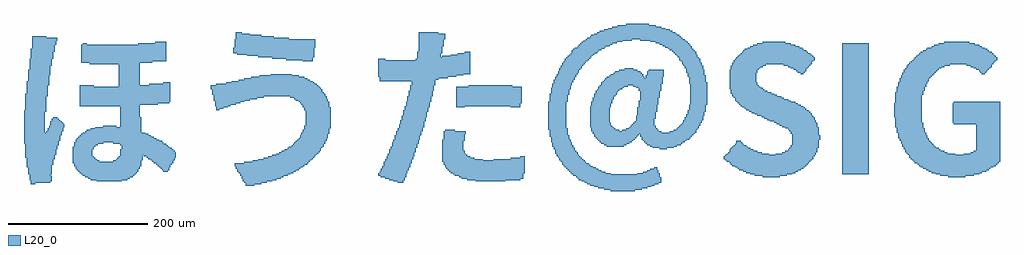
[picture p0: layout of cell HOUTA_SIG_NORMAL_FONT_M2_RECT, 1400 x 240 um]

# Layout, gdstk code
import gdstk
lib = gdstk.Library(unit=1e-6, precision=1e-09)
def R(c, l, rs):  # rectangles x0, y0, x1, y1
    for r in rs: c.add(gdstk.rectangle(r[:2], r[2:], *l))
def A(c, l, x, y, w, h, nx, ny, dx, dy):  # array of equal rectangles
    R(c, l, [(x+i*dx, y+j*dy, x+i*dx+w, y+j*dy+h) for i in range(nx) for j in range(ny)])
L20_0 = (20, 0)

houta_sig_normal_font_m2 = lib.new_cell('HOUTA_SIG_NORMAL_FONT_M2_RECT')
A(houta_sig_normal_font_m2, L20_0, 58, 146, 32, 2, 1, 3, 0, 2)
A(houta_sig_normal_font_m2, L20_0, 56, 154, 34, 2, 1, 5, 0, 2)
A(houta_sig_normal_font_m2, L20_0, 1224, 154, 38, 2, 1, 94, 0, 2)
A(houta_sig_normal_font_m2, L20_0, 54, 168, 38, 2, 1, 4, 0, 2)
A(houta_sig_normal_font_m2, L20_0, 120, 180, 28, 2, 1, 5, 0, 2)
A(houta_sig_normal_font_m2, L20_0, 52, 182, 44, 2, 1, 4, 0, 2)
A(houta_sig_normal_font_m2, L20_0, 650, 188, 30, 2, 1, 7, 0, 2)
A(houta_sig_normal_font_m2, L20_0, 1416, 188, 34, 2, 1, 19, 0, 2)
A(houta_sig_normal_font_m2, L20_0, 52, 190, 46, 2, 1, 3, 0, 2)
A(houta_sig_normal_font_m2, L20_0, 1152, 196, 38, 2, 1, 4, 0, 2)
A(houta_sig_normal_font_m2, L20_0, 50, 202, 52, 2, 1, 4, 0, 2)
A(houta_sig_normal_font_m2, L20_0, 582, 204, 36, 2, 1, 3, 0, 2)
A(houta_sig_normal_font_m2, L20_0, 652, 204, 30, 2, 1, 4, 0, 2)
A(houta_sig_normal_font_m2, L20_0, 1152, 204, 40, 2, 1, 3, 0, 2)
A(houta_sig_normal_font_m2, L20_0, 584, 210, 36, 2, 1, 3, 0, 2)
A(houta_sig_normal_font_m2, L20_0, 804, 210, 26, 2, 1, 4, 0, 2)
A(houta_sig_normal_font_m2, L20_0, 50, 214, 30, 2, 1, 15, 0, 2)
A(houta_sig_normal_font_m2, L20_0, 1302, 214, 40, 2, 1, 3, 0, 2)
A(houta_sig_normal_font_m2, L20_0, 802, 220, 26, 2, 1, 19, 0, 2)
A(houta_sig_normal_font_m2, L20_0, 188, 222, 30, 2, 1, 7, 0, 2)
A(houta_sig_normal_font_m2, L20_0, 1300, 222, 40, 2, 1, 3, 0, 2)
A(houta_sig_normal_font_m2, L20_0, 454, 224, 36, 2, 1, 11, 0, 2)
A(houta_sig_normal_font_m2, L20_0, 862, 228, 28, 2, 1, 11, 0, 2)
A(houta_sig_normal_font_m2, L20_0, 1300, 228, 38, 2, 1, 4, 0, 2)
A(houta_sig_normal_font_m2, L20_0, 1382, 228, 68, 2, 1, 14, 0, 2)
A(houta_sig_normal_font_m2, L20_0, 188, 236, 28, 2, 1, 8, 0, 2)
A(houta_sig_normal_font_m2, L20_0, 1298, 236, 40, 2, 1, 10, 0, 2)
A(houta_sig_normal_font_m2, L20_0, 594, 238, 34, 2, 1, 3, 0, 2)
A(houta_sig_normal_font_m2, L20_0, 930, 238, 26, 2, 1, 3, 0, 2)
A(houta_sig_normal_font_m2, L20_0, 930, 244, 28, 2, 1, 3, 0, 2)
A(houta_sig_normal_font_m2, L20_0, 52, 246, 30, 2, 1, 10, 0, 2)
A(houta_sig_normal_font_m2, L20_0, 1004, 246, 24, 2, 1, 4, 0, 2)
A(houta_sig_normal_font_m2, L20_0, 598, 252, 34, 2, 1, 3, 0, 2)
A(houta_sig_normal_font_m2, L20_0, 932, 254, 28, 2, 1, 3, 0, 2)
A(houta_sig_normal_font_m2, L20_0, 1006, 254, 24, 2, 1, 15, 0, 2)
A(houta_sig_normal_font_m2, L20_0, 670, 256, 94, 2, 1, 12, 0, 2)
A(houta_sig_normal_font_m2, L20_0, 1300, 256, 38, 2, 1, 6, 0, 2)
A(houta_sig_normal_font_m2, L20_0, 130, 258, 130, 2, 1, 11, 0, 2)
A(houta_sig_normal_font_m2, L20_0, 600, 258, 34, 2, 1, 4, 0, 2)
A(houta_sig_normal_font_m2, L20_0, 804, 258, 26, 2, 1, 5, 0, 2)
A(houta_sig_normal_font_m2, L20_0, 934, 264, 28, 2, 1, 5, 0, 2)
A(houta_sig_normal_font_m2, L20_0, 602, 266, 34, 2, 1, 4, 0, 2)
A(houta_sig_normal_font_m2, L20_0, 54, 270, 30, 2, 1, 6, 0, 2)
A(houta_sig_normal_font_m2, L20_0, 806, 270, 26, 2, 1, 3, 0, 2)
A(houta_sig_normal_font_m2, L20_0, 604, 274, 34, 2, 1, 4, 0, 2)
A(houta_sig_normal_font_m2, L20_0, 1302, 274, 40, 2, 1, 3, 0, 2)
A(houta_sig_normal_font_m2, L20_0, 54, 282, 32, 2, 1, 3, 0, 2)
A(houta_sig_normal_font_m2, L20_0, 186, 282, 30, 2, 1, 15, 0, 2)
A(houta_sig_normal_font_m2, L20_0, 606, 282, 34, 2, 1, 3, 0, 2)
A(houta_sig_normal_font_m2, L20_0, 1004, 286, 24, 2, 1, 4, 0, 2)
A(houta_sig_normal_font_m2, L20_0, 1062, 286, 38, 2, 1, 7, 0, 2)
A(houta_sig_normal_font_m2, L20_0, 56, 288, 30, 2, 1, 4, 0, 2)
A(houta_sig_normal_font_m2, L20_0, 56, 296, 32, 2, 1, 4, 0, 2)
A(houta_sig_normal_font_m2, L20_0, 944, 296, 24, 2, 1, 3, 0, 2)
A(houta_sig_normal_font_m2, L20_0, 558, 298, 132, 2, 1, 10, 0, 2)
A(houta_sig_normal_font_m2, L20_0, 58, 304, 30, 2, 1, 3, 0, 2)
A(houta_sig_normal_font_m2, L20_0, 58, 310, 32, 2, 1, 5, 0, 2)
A(houta_sig_normal_font_m2, L20_0, 132, 316, 122, 2, 1, 12, 0, 2)
A(houta_sig_normal_font_m2, L20_0, 60, 320, 32, 2, 1, 5, 0, 2)
A(houta_sig_normal_font_m2, L20_0, 614, 322, 34, 2, 1, 3, 0, 2)
A(houta_sig_normal_font_m2, L20_0, 350, 328, 116, 2, 1, 4, 0, 2)
A(houta_sig_normal_font_m2, L20_0, 616, 330, 34, 2, 1, 4, 0, 2)
A(houta_sig_normal_font_m2, L20_0, 62, 334, 32, 2, 1, 3, 0, 2)
A(houta_sig_normal_font_m2, L20_0, 352, 336, 116, 2, 1, 6, 0, 2)
A(houta_sig_normal_font_m2, L20_0, 616, 338, 36, 2, 1, 5, 0, 2)
A(houta_sig_normal_font_m2, L20_0, 62, 340, 34, 2, 1, 3, 0, 2)
A(houta_sig_normal_font_m2, L20_0, 616, 348, 38, 2, 1, 4, 0, 2)
R(houta_sig_normal_font_m2, L20_0, [(892,130,926,132), (882,132,936,134), (874,134,944,136), (868,136,950,138), (368,138,380,140), (862,138,954,140), (60,140,66,142), (368,140,390,142), (858,140,960,142), (60,142,88,144), (366,142,398,144), (586,142,594,144), (854,142,964,144), (60,144,90,146), (154,144,190,146), (364,144,406,146), (580,144,594,146), (698,144,740,146), (850,144,964,146), (146,146,198,148), (364,146,412,148), (574,146,596,148), (686,146,762,148), (846,146,964,148), (142,148,202,150), (362,148,418,150), (568,148,596,150), (678,148,766,150), (844,148,964,150), (138,150,206,152), (362,150,422,152), (562,150,598,152), (674,150,766,152), (842,150,962,152), (1110,150,1134,152), (1376,150,1400,152), (58,152,88,154), (134,152,208,154), (360,152,428,154), (558,152,598,154), (668,152,766,154), (838,152,962,154), (1098,152,1144,154), (1364,152,1412,154), (132,154,210,156), (360,154,432,156), (558,154,598,156), (666,154,766,156), (836,154,892,156), (930,154,962,156), (1092,154,1152,156), (1358,154,1420,156), (130,156,212,158), (358,156,436,158), (560,156,600,158), (662,156,768,158), (834,156,884,158), (938,156,960,158), (1086,156,1156,158), (1352,156,1424,158), (128,158,214,160), (250,158,256,160), (356,158,440,160), (562,158,600,160), (660,158,768,160), (832,158,878,160), (944,158,960,160), (1082,158,1160,160), (1348,158,1430,160), (126,160,214,162), (248,160,258,162), (356,160,444,162), (562,160,602,162), (658,160,768,162), (830,160,874,162), (948,160,958,162), (1076,160,1164,162), (1344,160,1434,162), (124,162,216,164), (246,162,258,164), (354,162,446,164), (564,162,602,164), (656,162,768,164), (828,162,870,164), (954,162,958,164), (1074,162,1168,164), (1340,162,1436,164), (54,164,90,166), (124,164,216,166), (244,164,260,166), (354,164,450,166), (564,164,604,166), (654,164,768,166), (826,164,866,166), (1070,164,1170,166), (1336,164,1440,166), (54,166,90,168), (122,166,218,168), (242,166,260,168), (352,166,452,168), (566,166,604,168), (654,166,768,168), (824,166,862,168), (1066,166,1172,168), (1334,166,1444,168), (122,168,218,170), (240,168,262,170), (352,168,456,170), (566,168,604,170), (652,168,768,170), (822,168,860,170), (1064,168,1174,170), (1332,168,1446,170), (120,170,218,172), (236,170,264,172), (366,170,458,172), (566,170,606,172), (652,170,768,172), (822,170,856,172), (1062,170,1176,172), (1328,170,1448,172), (120,172,158,174), (178,172,218,174), (234,172,264,174), (378,172,460,174), (568,172,606,174), (650,172,768,174), (820,172,854,174), (1058,172,1178,174), (1326,172,1450,174), (120,174,154,176), (182,174,220,176), (232,174,266,176), (386,174,462,176), (568,174,606,176), (650,174,708,176), (724,174,768,176), (818,174,852,176), (1056,174,1180,176), (1324,174,1450,176), (54,176,94,178), (120,176,152,178), (184,176,220,178), (228,176,266,178), (394,176,464,178), (570,176,608,178), (650,176,696,178), (748,176,768,178), (818,176,850,178), (1054,176,1182,178), (1322,176,1450,178), (52,178,94,180), (120,178,150,180), (186,178,220,180), (226,178,268,180), (400,178,466,180), (570,178,608,180), (650,178,690,180), (762,178,768,180), (816,178,848,180), (1054,178,1182,180), (1320,178,1450,180), (52,180,94,182), (188,180,220,182), (222,180,268,182), (406,180,468,182), (572,180,610,182), (650,180,686,182), (814,180,846,182), (1056,180,1184,182), (1320,180,1450,182), (188,182,268,184), (412,182,470,184), (572,182,610,184), (650,182,684,184), (814,182,844,184), (1058,182,1118,184), (1128,182,1186,184), (1318,182,1386,184), (1398,182,1450,184), (188,184,268,186), (416,184,472,186), (574,184,610,186), (650,184,682,186), (812,184,844,186), (1060,184,1108,186), (1138,184,1186,186), (1316,184,1374,186), (1408,184,1450,186), (188,186,266,188), (420,186,474,188), (574,186,612,188), (650,186,682,188), (812,186,842,188), (1062,186,1102,188), (1142,186,1188,188), (1314,186,1370,188), (1412,186,1450,188), (188,188,264,190), (424,188,476,190), (574,188,612,190), (812,188,840,190), (1062,188,1096,190), (1146,188,1188,190), (1314,188,1364,190), (120,190,150,192), (190,190,262,192), (428,190,476,192), (576,190,612,192), (810,190,840,192), (962,190,972,192), (1064,190,1092,192), (1148,190,1188,192), (1312,190,1362,192), (120,192,150,194), (190,192,258,194), (430,192,478,194), (576,192,614,194), (810,192,838,194), (952,192,982,194), (1066,192,1088,194), (1150,192,1190,194), (1312,192,1358,194), (122,194,152,196), (190,194,256,196), (434,194,480,196), (578,194,614,196), (808,194,838,196), (886,194,910,196), (948,194,986,196), (1068,194,1086,196), (1150,194,1190,196), (1310,194,1356,196), (52,196,100,198), (122,196,156,198), (188,196,254,198), (436,196,480,198), (578,196,614,198), (808,196,836,198), (882,196,914,198), (944,196,992,198), (1070,196,1082,198), (1310,196,1354,198), (50,198,100,200), (122,198,164,200), (178,198,250,200), (438,198,482,200), (578,198,616,200), (808,198,836,200), (878,198,918,200), (942,198,994,200), (1072,198,1080,200), (1308,198,1352,200), (50,200,100,202), (124,200,248,202), (440,200,482,202), (580,200,616,202), (806,200,834,202), (876,200,922,202), (940,200,998,202), (1072,200,1078,202), (1308,200,1350,202), (124,202,244,204), (442,202,484,204), (580,202,616,204), (650,202,682,204), (806,202,834,204), (874,202,924,204), (938,202,1000,204), (1306,202,1348,204), (126,204,240,206), (444,204,484,206), (806,204,832,206), (872,204,926,206), (936,204,1004,206), (1306,204,1348,206), (128,206,236,208), (446,206,486,208), (806,206,832,208), (870,206,928,208), (936,206,1006,208), (1304,206,1346,208), (130,208,232,210), (446,208,486,210), (804,208,832,210), (868,208,930,210), (934,208,1008,210), (1304,208,1346,210), (50,210,104,212), (132,210,228,212), (448,210,486,212), (868,210,932,212), (934,210,1010,212), (1152,210,1190,212), (1304,210,1344,212), (50,212,104,214), (134,212,224,214), (448,212,488,214), (652,212,684,214), (866,212,1012,214), (1150,212,1190,214), (1304,212,1344,214), (82,214,104,216), (138,214,218,216), (450,214,488,216), (652,214,684,216), (866,214,964,216), (976,214,1014,216), (1150,214,1190,216), (84,216,106,218), (140,216,218,218), (450,216,488,218), (586,216,622,218), (654,216,668,218), (864,216,904,218), (908,216,960,218), (982,216,1014,218), (1148,216,1190,218), (84,218,106,220), (146,218,218,220), (452,218,488,220), (586,218,622,220), (802,218,830,220), (864,218,898,220), (914,218,958,220), (986,218,1016,220), (1146,218,1190,220), (86,220,106,222), (152,220,218,222), (452,220,490,222), (588,220,622,222), (864,220,896,222), (918,220,956,222), (988,220,1018,222), (1142,220,1190,222), (1302,220,1340,222), (86,222,108,224), (164,222,182,224), (452,222,490,224), (588,222,624,224), (862,222,894,224), (920,222,956,224), (990,222,1018,224), (1138,222,1188,224), (88,224,108,226), (588,224,624,226), (862,224,892,226), (922,224,954,226), (992,224,1020,226), (1134,224,1188,226), (88,226,106,228), (590,226,624,228), (862,226,892,228), (924,226,954,228), (994,226,1020,228), (1130,226,1188,228), (1384,226,1450,228), (88,228,104,230), (590,228,624,230), (926,228,954,230), (996,228,1022,230), (1126,228,1186,230), (90,230,102,232), (590,230,626,232), (928,230,954,232), (996,230,1022,232), (1120,230,1186,232), (90,232,100,234), (592,232,626,234), (928,232,954,234), (998,232,1024,234), (1116,232,1184,234), (92,234,98,236), (592,234,626,236), (928,234,956,236), (998,234,1024,236), (1112,234,1184,236), (592,236,628,238), (928,236,956,238), (1000,236,1024,238), (1108,236,1182,238), (1000,238,1026,240), (1102,238,1180,240), (1002,240,1026,242), (1098,240,1180,242), (1002,242,1026,244), (1094,242,1178,244), (50,244,82,246), (594,244,630,246), (1002,244,1028,246), (1090,244,1176,246), (326,246,330,248), (452,246,490,248), (596,246,630,248), (1086,246,1172,248), (326,248,336,250), (452,248,490,250), (596,248,630,250), (1084,248,1170,250), (326,250,342,252), (450,250,488,252), (596,250,632,252), (670,250,682,252), (748,250,762,252), (862,250,892,252), (932,250,958,252), (1080,250,1168,252), (130,252,216,254), (324,252,346,254), (450,252,488,254), (670,252,762,254), (864,252,892,254), (932,252,958,254), (1078,252,1164,254), (130,254,242,256), (324,254,354,256), (448,254,488,256), (670,254,762,256), (864,254,892,256), (1076,254,1160,256), (130,256,258,258), (324,256,360,258), (446,256,488,258), (864,256,894,258), (1074,256,1156,258), (1384,256,1450,258), (324,258,366,260), (444,258,486,260), (866,258,894,260), (1072,258,1150,260), (322,260,374,262), (440,260,486,262), (866,260,894,262), (934,260,960,262), (1070,260,1146,262), (322,262,384,264), (438,262,484,264), (866,262,896,264), (934,262,960,264), (1070,262,1140,264), (322,264,394,266), (432,264,484,266), (868,264,896,266), (1068,264,1136,266), (52,266,84,268), (322,266,482,268), (868,266,898,268), (1066,266,1130,268), (52,268,84,270), (320,268,482,270), (804,268,832,270), (868,268,900,270), (1066,268,1126,270), (1300,268,1340,270), (320,270,480,272), (870,270,900,272), (1064,270,1122,272), (1300,270,1340,272), (320,272,478,274), (870,272,902,274), (1064,272,1116,274), (1302,272,1340,274), (320,274,478,276), (872,274,904,276), (932,274,964,276), (1064,274,1112,276), (318,276,476,278), (806,276,834,278), (874,276,908,278), (932,276,964,278), (1062,276,1110,278), (318,278,474,280), (808,278,834,280), (874,278,910,280), (928,278,964,280), (1062,278,1106,280), (130,280,150,282), (186,280,260,282), (318,280,472,282), (688,280,750,282), (808,280,834,282), (876,280,916,282), (924,280,964,282), (1062,280,1104,282), (1304,280,1344,282), (230,282,260,284), (326,282,470,284), (808,282,836,284), (878,282,964,284), (1062,282,1102,284), (1304,282,1344,284), (250,284,260,286), (340,284,466,286), (810,284,836,286), (878,284,966,286), (1004,284,1030,286), (1062,284,1102,286), (1304,284,1346,286), (348,286,464,288), (810,286,838,288), (880,286,966,288), (1306,286,1346,288), (358,288,460,290), (560,288,640,290), (810,288,838,290), (882,288,966,290), (1306,288,1348,290), (366,290,456,292), (560,290,644,292), (812,290,840,292), (884,290,966,292), (1306,290,1348,292), (376,292,452,294), (560,292,658,294), (812,292,840,294), (886,292,940,294), (942,292,966,294), (1308,292,1350,294), (388,294,444,296), (558,294,670,296), (814,294,842,296), (890,294,938,296), (942,294,968,296), (1002,294,1028,296), (1308,294,1352,296), (404,296,434,298), (558,296,680,298), (814,296,842,298), (892,296,938,298), (1002,296,1026,298), (1310,296,1354,298), (816,298,844,300), (896,298,936,300), (1002,298,1026,300), (1164,298,1168,300), (1310,298,1356,300), (1424,298,1428,300), (816,300,846,302), (898,300,934,302), (1000,300,1026,302), (1062,300,1102,302), (1160,300,1170,302), (1312,300,1358,302), (1422,300,1430,302), (818,302,846,304), (904,302,930,304), (946,302,968,304), (1000,302,1026,304), (1062,302,1102,304), (1158,302,1172,304), (1312,302,1360,304), (1420,302,1432,304), (818,304,848,306), (912,304,924,306), (1000,304,1024,306), (1064,304,1104,306), (1154,304,1172,306), (1314,304,1362,306), (1416,304,1434,306), (820,306,850,308), (998,306,1024,308), (1064,306,1106,308), (1150,306,1174,308), (1316,306,1366,308), (1412,306,1436,308), (820,308,850,310), (998,308,1024,310), (1064,308,1110,310), (1146,308,1176,310), (1316,308,1370,310), (1408,308,1438,310), (822,310,852,312), (996,310,1022,312), (1066,310,1114,312), (1140,310,1178,312), (1318,310,1378,312), (1402,310,1438,312), (144,312,216,314), (822,312,854,314), (994,312,1022,314), (1066,312,1180,314), (1320,312,1440,314), (132,314,234,316), (824,314,856,316), (994,314,1020,316), (1068,314,1180,316), (1322,314,1442,316), (450,316,464,318), (826,316,858,318), (992,316,1020,318), (1068,316,1182,318), (1324,316,1444,318), (426,318,464,320), (558,318,568,320), (612,318,690,320), (826,318,860,320), (990,318,1020,320), (1070,318,1184,320), (1326,318,1446,320), (406,320,464,322), (614,320,690,322), (828,320,862,322), (990,320,1018,322), (1072,320,1184,322), (1328,320,1446,322), (386,322,466,324), (650,322,690,324), (830,322,864,324), (988,322,1016,324), (1074,322,1182,324), (1330,322,1444,324), (370,324,466,326), (662,324,690,326), (832,324,866,326), (986,324,1016,326), (1076,324,1180,326), (1332,324,1442,326), (356,326,466,328), (672,326,690,328), (834,326,868,328), (984,326,1014,328), (1078,326,1178,328), (1334,326,1440,328), (614,328,650,330), (682,328,690,330), (836,328,872,330), (982,328,1014,330), (1080,328,1174,330), (1336,328,1438,330), (60,330,94,332), (836,330,874,332), (980,330,1012,332), (1082,330,1172,332), (1340,330,1434,332), (60,332,94,334), (838,332,878,334), (976,332,1010,334), (1084,332,1168,334), (1344,332,1432,334), (840,334,882,336), (974,334,1008,336), (1088,334,1166,336), (1346,334,1428,336), (844,336,884,338), (970,336,1008,338), (1092,336,1162,338), (1352,336,1424,338), (846,338,890,340), (966,338,1006,340), (1096,338,1156,340), (1356,338,1420,340), (134,340,140,342), (214,340,254,342), (848,340,894,342), (962,340,1004,342), (1102,340,1150,342), (1362,340,1414,342), (238,342,254,344), (850,342,900,344), (956,342,1002,344), (1110,342,1142,344), (1370,342,1406,344), (852,344,908,346), (948,344,1000,346), (62,346,98,348), (856,346,922,348), (934,346,998,348), (62,348,98,350), (354,348,430,350), (858,348,994,350), (62,350,82,352), (354,350,408,352), (862,350,992,352), (354,352,390,354), (864,352,990,354), (354,354,374,356), (868,354,986,356), (354,356,362,358), (616,356,644,358), (872,356,984,358), (876,358,980,360), (882,360,976,362), (888,362,970,364), (894,364,964,366), (902,366,956,368), (914,368,946,370)])

lib.write_gds('HOUTA_SIG_NORMAL_FONT_M2_RECT.gds')
